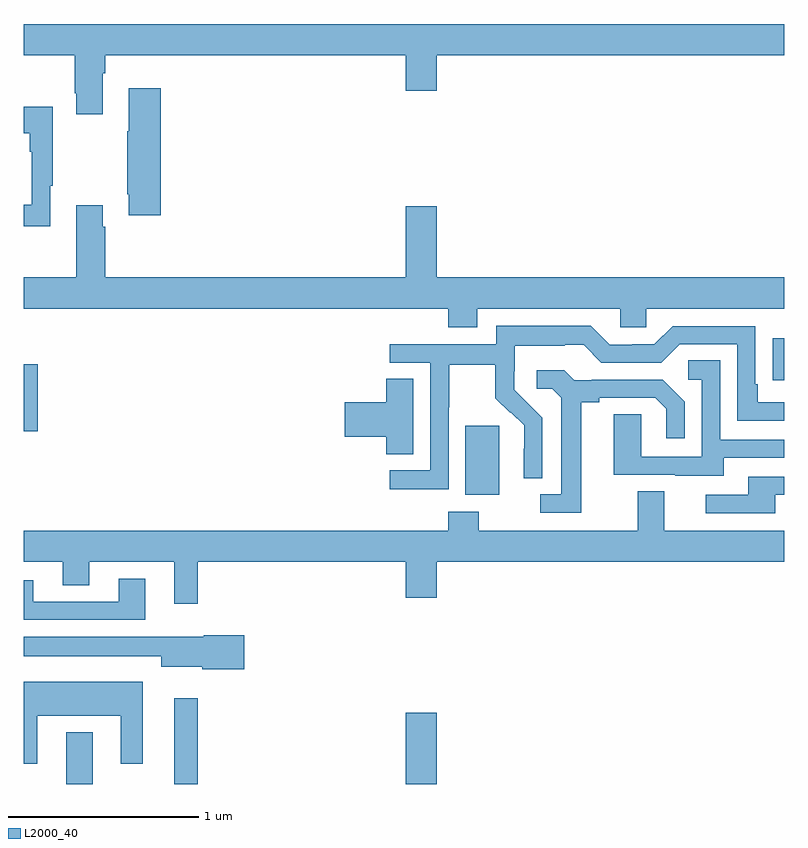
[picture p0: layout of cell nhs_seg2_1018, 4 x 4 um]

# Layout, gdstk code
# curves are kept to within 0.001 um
import gdstk
lib = gdstk.Library(unit=1e-6, precision=1e-09)
def R(c, l, rs):  # rectangles x0, y0, x1, y1
    for r in rs: c.add(gdstk.rectangle(r[:2], r[2:], *l))
def P(c, l, *ps):  # polygons
    for p in ps: c.add(gdstk.Polygon(p, *l))
L2000_40 = (2000, 40)

nhs_seg2_1018 = lib.new_cell('nhs_seg2_1018')
R(nhs_seg2_1018, L2000_40, [(163.223,647.8,163.363,648.073), (163.793,647.8,163.915,648.25), (165.008,647.8,165.172,648.175), (165.323,649.322,165.502,649.683), (163,649.655,163.073,650.008), (166.939,649.924,167,650.143)])
P(nhs_seg2_1018, L2000_40, [(163.417,651.536),(163.43,651.536),(163.43,651.632),(165.008,651.632),(165.008,651.444),(165.172,651.444),(165.172,651.632),(167,651.632),(167,651.796),(163,651.796),(163,651.632),(163.27,651.632),(163.27,651.433),(163.277,651.433),(163.277,651.321),(163.417,651.321)],
  [(163.721,651.457),(163.553,651.457),(163.553,651.233),(163.546,651.233),(163.546,650.902),(163.553,650.902),(163.553,650.79),(163.721,650.79)],
  [(163.141,650.945),(163.153,650.945),(163.153,651.361),(163,651.361),(163,651.221),(163.032,651.221),(163.032,651.125),(163.044,651.125),(163.044,650.846),(163,650.846),(163,650.733),(163.141,650.733)],
  [(165.385,650.3),(166.137,650.3),(166.137,650.202),(166.275,650.202),(166.275,650.3),(167,650.3),(167,650.464),(165.172,650.464),(165.172,650.839),(165.008,650.839),(165.008,650.464),(163.43,650.464),(163.43,650.729),(163.417,650.729),(163.417,650.842),(163.277,650.842),(163.277,650.464),(163,650.464),(163,650.3),(165.233,650.3),(165.233,650.201),(165.385,650.201)],
  [(165.234,649.78),(165.237,649.78),(165.237,650.004),(165.481,650.004),(165.481,649.829),(165.558,649.752),(165.561,649.755),(165.632,649.685),(165.632,649.562),(165.63,649.562),(165.63,649.408),(165.726,649.408),(165.726,649.726),(165.58,649.874),(165.58,649.971),(165.582,649.971),(165.582,650.105),(165.845,650.105),(165.845,650.109),(165.945,650.109),(166.038,650.016),(166.353,650.016),(166.449,650.112),(166.752,650.112),(166.752,649.71),(167,649.71),(167,649.806),(166.861,649.806),(166.861,649.903),(166.848,649.903),(166.848,650.208),(166.413,650.208),(166.317,650.112),(166.199,650.112),(166.199,650.109),(166.083,650.109),(165.983,650.209),(165.486,650.209),(165.486,650.112),(164.925,650.112),(164.925,650.016),(165.138,650.016),(165.138,649.449),(164.925,649.449),(164.925,649.351),(165.234,649.351)],
  [(166.681,649.515),(167,649.515),(167,649.611),(166.662,649.611),(166.662,650.027),(166.494,650.027),(166.494,649.926),(166.566,649.926),(166.566,649.521),(166.248,649.521),(166.248,649.745),(166.103,649.745),(166.103,649.425),(166.427,649.425),(166.427,649.421),(166.681,649.421)],
  [(165.931,649.808),(166.027,649.808),(166.027,649.83),(166.322,649.83),(166.379,649.773),(166.379,649.617),(166.476,649.617),(166.476,649.81),(166.36,649.926),(165.988,649.926),(165.988,649.923),(165.894,649.923),(165.842,649.975),(165.699,649.975),(165.699,649.878),(165.78,649.878),(165.827,649.831),(165.827,649.323),(165.717,649.323),(165.717,649.227),(165.931,649.227)],
  [(165.049,649.931),(164.906,649.931),(164.906,649.808),(164.688,649.808),(164.688,649.625),(164.906,649.625),(164.906,649.534),(165.049,649.534)],
  [(166.951,649.32),(167,649.32),(167,649.416),(166.811,649.416),(166.811,649.32),(166.587,649.32),(166.587,649.224),(166.951,649.224)],
  [(163.915,648.968),(165.008,648.968),(165.008,648.78),(165.172,648.78),(165.172,648.968),(167,648.968),(167,649.132),(166.369,649.132),(166.369,649.34),(166.229,649.34),(166.229,649.132),(165.393,649.132),(165.393,649.231),(165.233,649.231),(165.233,649.132),(163,649.132),(163,648.968),(163.205,648.968),(163.205,648.844),(163.345,648.844),(163.345,648.968),(163.793,648.968),(163.793,648.747),(163.915,648.747)],
  [(163.639,648.88),(163.499,648.88),(163.499,648.759),(163.051,648.759),(163.051,648.871),(163,648.871),(163,648.663),(163.639,648.663)],
  [(164.161,648.582),(163.948,648.582),(163.948,648.574),(163,648.574),(163,648.473),(163.724,648.473),(163.724,648.416),(163.938,648.416),(163.938,648.404),(164.161,648.404)],
  [(163.072,648.158),(163.511,648.158),(163.511,647.907),(163.627,647.907),(163.627,648.337),(163,648.337),(163,647.907),(163.072,647.907)])

lib.write_gds('nhs_seg2_1018.gds')
